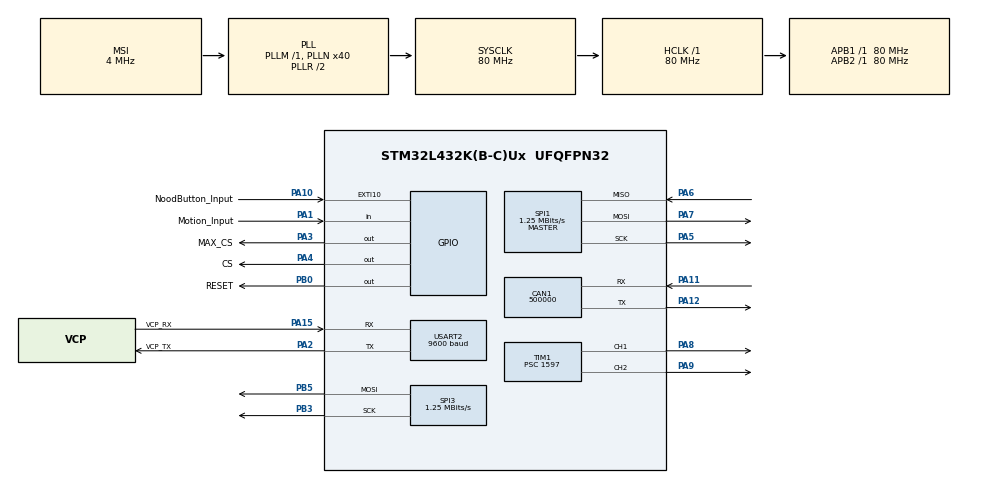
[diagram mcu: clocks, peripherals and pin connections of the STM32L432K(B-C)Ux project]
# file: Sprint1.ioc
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CAN1.BS1=CAN_BS1_3TQ
CAN1.BS2=CAN_BS2_6TQ
CAN1.CalculateBaudRate=500000
CAN1.CalculateTimeBit=2000
CAN1.CalculateTimeQuantum=200.0
Mcu.Family=STM32L4
Mcu.Name=STM32L432K(B-C)Ux
Mcu.Package=UFQFPN32
NVIC.CAN1_RX0_IRQn=true\:0\:0\:false\:false\:true\:true\:true\:true
NVIC.EXTI15_10_IRQn=true\:0\:0\:false\:false\:true\:true\:true\:true
NVIC.PriorityGroup=NVIC_PRIORITYGROUP_4
PA0.GPIO_Label=MCO [High speed clock in]
PA0.Mode=HSE-External-Clock-Source-for-LittleOrca
PA0.Signal=RCC_CK_IN
PA1.GPIO_Label=Motion_Input
PA1.GPIO_PuPd=GPIO_PULLUP
PA1.Signal=GPIO_Input
PA10.GPIO_Label=NoodButton_Input
PA10.GPIO_ModeDefaultEXTI=GPIO_MODE_IT_FALLING
PA10.GPIO_PuPd=GPIO_PULLUP
PA10.Signal=GPXTI10
PA11.Mode=CAN_Activate
PA11.Signal=CAN1_RX
PA12.Mode=CAN_Activate
PA12.Signal=CAN1_TX
PA13\ (JTMS-SWDIO).GPIO_Label=SWDIO
PA13\ (JTMS-SWDIO).Mode=Serial_Wire
PA13\ (JTMS-SWDIO).Signal=SYS_JTMS-SWDIO
PA14\ (JTCK-SWCLK).GPIO_Label=SWCLK
PA14\ (JTCK-SWCLK).Mode=Serial_Wire
PA14\ (JTCK-SWCLK).Signal=SYS_JTCK-SWCLK
PA15\ (JTDI).GPIO_Label=VCP_RX
PA15\ (JTDI).Mode=Asynchronous
PA15\ (JTDI).Signal=USART2_RX
PA2.GPIO_Label=VCP_TX
PA2.Mode=Asynchronous
PA2.Signal=USART2_TX
PA3.GPIO_Label=MAX_CS
PA3.Signal=GPIO_Output
PA4.GPIO_Label=CS
PA4.Signal=GPIO_Output
PA5.Mode=Full_Duplex_Master
PA5.Signal=SPI1_SCK
PA6.Mode=Full_Duplex_Master
PA6.Signal=SPI1_MISO
PA7.Mode=Full_Duplex_Master
PA7.Signal=SPI1_MOSI
PA8.Signal=S_TIM1_CH1
PA9.Signal=S_TIM1_CH2
PB0.GPIO_Label=RESET
PB0.Signal=GPIO_Output
PB3\ (JTDO-TRACESWO).Mode=TX_Only_Simplex_Unidirect_Master
PB3\ (JTDO-TRACESWO).Signal=SPI3_SCK
PB5.Mode=TX_Only_Simplex_Unidirect_Master
PB5.Signal=SPI3_MOSI
PC14-OSC32_IN\ (PC14).Mode=LSE-External-Oscillator
PC14-OSC32_IN\ (PC14).Signal=RCC_OSC32_IN
PC15-OSC32_OUT\ (PC15).Mode=LSE-External-Oscillator
PC15-OSC32_OUT\ (PC15).Signal=RCC_OSC32_OUT
ProjectManager.HeapSize=0x200
ProjectManager.StackSize=0x400
ProjectManager.TargetToolchain=STM32CubeIDE
RCC.AHBFreq_Value=80000000
RCC.APB1Freq_Value=80000000
RCC.APB1TimFreq_Value=80000000
RCC.APB2Freq_Value=80000000
RCC.APB2TimFreq_Value=80000000
RCC.CortexFreq_Value=80000000
RCC.HCLKFreq_Value=80000000
RCC.HSE_VALUE=8000000
RCC.HSI16_VALUE=16000000
RCC.HSI48_VALUE=48000000
RCC.HSI_VALUE=16000000
RCC.MSI_VALUE=4000000
RCC.PLLMUL=RCC_PLLMUL_4
RCC.PLLN=40
RCC.SYSCLKFreq_VALUE=80000000
RCC.SYSCLKSource=RCC_SYSCLKSOURCE_PLLCLK
RCC.VCOOutputFreq_Value=160000000
SH.S_TIM1_CH1.0=TIM1_CH1,PWM Generation1 CH1
SH.S_TIM1_CH2.0=TIM1_CH2,PWM Generation2 CH2
SPI1.BaudRatePrescaler=SPI_BAUDRATEPRESCALER_64
SPI1.CalculateBaudRate=1.25 MBits/s
SPI1.DataSize=SPI_DATASIZE_8BIT
SPI1.Direction=SPI_DIRECTION_2LINES
SPI1.Mode=SPI_MODE_MASTER
SPI1.VirtualType=VM_MASTER
SPI3.BaudRatePrescaler=SPI_BAUDRATEPRESCALER_64
SPI3.CalculateBaudRate=1.25 MBits/s
SPI3.DataSize=SPI_DATASIZE_8BIT
SPI3.Direction=SPI_DIRECTION_2LINES
SPI3.Mode=SPI_MODE_MASTER
SPI3.VirtualType=VM_MASTER
TIM1.Channel-PWM\ Generation1\ CH1=TIM_CHANNEL_1
TIM1.Channel-PWM\ Generation2\ CH2=TIM_CHANNEL_2
TIM1.Period=1000
TIM1.Prescaler=1597
TIM1.Pulse-PWM\ Generation1\ CH1=1500
TIM1.Pulse-PWM\ Generation2\ CH2=1500
USART2.BaudRate=9600
USART2.VirtualMode-Asynchronous=VM_ASYNC
board=NUCLEO-L432KC

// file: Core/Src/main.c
/* USER CODE BEGIN Header */
/**
 ******************************************************************************
 * @file           : main.c
 * @brief          : Main program body
 ******************************************************************************
 * @attention
 *
 * Copyright (c) 2026 STMicroelectronics.
 * All rights reserved.
 *
 * This software is licensed under terms that can be found in the LICENSE file
 * in the root directory of this software component.
 * If no LICENSE file comes with this software, it is provided AS-IS.
 *
 ******************************************************************************
 */
/* USER CODE END Header */
#include "main.h"

/* USER CODE BEGIN Includes */
#include "MFRC522_STM32.h"
#include <string.h>
/* USER CODE END Includes */

CAN_HandleTypeDef hcan1;

SPI_HandleTypeDef hspi1;
SPI_HandleTypeDef hspi3;

TIM_HandleTypeDef htim1;

UART_HandleTypeDef huart2;

/* USER CODE BEGIN PV */
uint8_t uid[4];
extern uint8_t atqa[];

typedef enum {
	STATE_NORMAL, STATE_EMERGENCY, STATE_ALLOPEN
} system_state_t;

volatile system_state_t state = STATE_NORMAL;

const uint8_t BinnendeurDicht = 25;
const uint8_t BinnendeurOpen = 70;
const uint8_t BuitendeurDicht = 30;
const uint8_t BuitendeurOpen = 71;
volatile int servo1_pos = BuitendeurDicht;
volatile int servo2_pos = BinnendeurDicht;

volatile uint32_t lastNoodButtonTime = 0;

CAN_TxHeaderTypeDef TxHeader;
CAN_RxHeaderTypeDef RxHeader;
uint8_t TxData[8];
uint8_t RxData[8];
uint32_t TxMailbox;
uint8_t datacheck = 0;
uint8_t RTRReceived = 0;

uint8_t DoorloopCyclus = 0;

uint8_t UIDDatabase[][4] = { { 0x1A, 0xEE, 0xC2, 0x6E }, { 0xFA, 0xA8, 0x04,
		0xDD } };
uint8_t UIDValidated = 0;
uint64_t uidPacked = 0;
/* USER CODE END PV */

void SystemClock_Config(void);
static void MX_GPIO_Init(void);
static void MX_TIM1_Init(void);
static void MX_USART2_UART_Init(void);
static void MX_SPI1_Init(void);
static void MX_CAN1_Init(void);
static void MX_SPI3_Init(void);
/* USER CODE BEGIN PFP */
MFRC522_t rfID = { &hspi1, CS_GPIO_Port, CS_Pin, RESET_GPIO_Port, RESET_Pin };
void SendCanMessage(int dataLength, uint64_t data, uint16_t canID);
/* USER CODE END PFP */

/* USER CODE BEGIN 0 */
void Servo_Move_Smooth(uint32_t *channel, int start, int target, int stepDelay)
{
    if (start < target) {
        for (int pos = start; pos <= target; pos++) {
            *channel = pos;
            HAL_Delay(stepDelay);
        }
    } else {
        for (int pos = start; pos >= target; pos--) {
            *channel = pos;
            HAL_Delay(stepDelay);
        }
    }
}
int _write(int fd, unsigned char *buf, int len);

void max7219_send(uint8_t reg, uint8_t data) {
	HAL_GPIO_WritePin(MAX_CS_GPIO_Port, MAX_CS_Pin, GPIO_PIN_RESET);

	uint8_t bytes[2] = { reg, data };
	HAL_SPI_Transmit(&hspi3, bytes, 2, HAL_MAX_DELAY);

	HAL_GPIO_WritePin(MAX_CS_GPIO_Port, MAX_CS_Pin, GPIO_PIN_SET);
}

void max7219_init(void) {
	max7219_send(0x0F, 0x00); // Display test uit
	max7219_send(0x0C, 0x01); // Shutdown uit (display aan)
	max7219_send(0x0B, 0x07); // Scan limit: 8 rijen
	max7219_send(0x09, 0x00); // Geen decode mode
	max7219_send(0x0A, 0x08); // Brightness
}
uint8_t leeg_2d[8][8] = { { 0, 0, 0, 0, 0, 0, 0, 0 },
		{ 0, 0, 0, 0, 0, 0, 0, 0 }, { 0, 0, 0, 0, 0, 0, 0, 0 }, { 0, 0, 0, 0, 0,
				0, 0, 0 }, { 0, 0, 0, 0, 0, 0, 0, 0 },
		{ 0, 0, 0, 0, 0, 0, 0, 0 }, { 0, 0, 0, 0, 0, 0, 0, 0 }, { 0, 0, 0, 0, 0,
				0, 0, 0 } };

uint8_t uitroepteken_2d[8][8] = { { 0, 0, 0, 1, 1, 0, 0, 0 }, { 0, 0, 0, 1, 1,
		0, 0, 0 }, { 0, 0, 0, 1, 1, 0, 0, 0 }, { 0, 0, 0, 1, 1, 0, 0, 0 }, { 0,
		0, 0, 1, 1, 0, 0, 0 }, { 0, 0, 0, 0, 0, 0, 0, 0 }, { 0, 0, 0, 1, 1, 0,
		0, 0 }, { 0, 0, 0, 1, 1, 0, 0, 0 } };

uint8_t duimpje_2d[8][8] = { { 0, 0, 0, 0, 1, 0, 0, 0 }, { 0, 0, 0, 1, 1, 0, 0,
		0 }, { 0, 0, 0, 1, 1, 0, 0, 0 }, { 1, 1, 1, 1, 1, 1, 1, 0 }, { 1, 1, 1,
		1, 1, 1, 1, 0 }, { 1, 1, 1, 1, 1, 1, 1, 0 }, { 1, 1, 1, 1, 1, 1, 0, 0 },
		{ 0, 0, 0, 1, 1, 0, 0, 0 } };
uint8_t vinkje_2d[8][8] = { { 0, 0, 0, 0, 0, 0, 0, 0 },
		{ 0, 0, 0, 0, 0, 0, 0, 1 }, { 0, 0, 0, 0, 0, 0, 1, 0 }, { 0, 0, 0, 0, 0,
				1, 0, 0 }, { 1, 0, 0, 0, 1, 0, 0, 0 },
		{ 0, 1, 0, 1, 0, 0, 0, 0 }, { 0, 0, 1, 0, 0, 0, 0, 0 }, { 0, 0, 0, 0, 0,
				0, 0, 0 } };

uint8_t kruisje_2d[8][8] = { { 0, 0, 0, 0, 0, 0, 0, 0 }, { 1, 0, 0, 0, 0, 0, 0,
		1 }, { 0, 1, 0, 0, 0, 0, 1, 0 }, { 0, 0, 1, 0, 0, 1, 0, 0 }, { 0, 0, 0,
		1, 1, 0, 0, 0 }, { 0, 0, 1, 0, 0, 1, 0, 0 }, { 0, 1, 0, 0, 0, 0, 1, 0 },
		{ 1, 0, 0, 0, 0, 0, 0, 1 } };

uint8_t row_to_byte(uint8_t row[8]) {
	uint8_t value = 0;
	for (int i = 0; i < 8; i++) {
		value <<= 1;
		value |= (row[i] & 0x01);
	}
	return value;
}

void max7219_show_2d(uint8_t arr[8][8]) {
	for (uint8_t row = 0; row < 8; row++) {
		uint8_t byte = row_to_byte(arr[row]);
		max7219_send(row + 1, byte);
	}
}

void KaiDeurAutomatiseringBuitenBinnen() {
	char RFIDmsg[] = "Deur 1 gaat open\r\n";
	HAL_UART_Transmit(&huart2, (uint8_t*) RFIDmsg, sizeof(RFIDmsg) - 1,
	HAL_MAX_DELAY);

	Servo_Move_Smooth(&TIM1->CCR1, servo1_pos, BuitendeurOpen, 20);
	servo1_pos = BuitendeurOpen;

	HAL_Delay(3000);
	char RFIDmsg1[] = "Deur 1 gaat dicht\r\n";
	HAL_UART_Transmit(&huart2, (uint8_t*) RFIDmsg1, sizeof(RFIDmsg1) - 1,
	HAL_MAX_DELAY);

	Servo_Move_Smooth(&TIM1->CCR1, servo1_pos, BuitendeurDicht, 20);
	servo1_pos = BuitendeurDicht;

	char RFIDmsg2[] = "Deur 2 gaat open\r\n";
	HAL_UART_Transmit(&huart2, (uint8_t*) RFIDmsg2, sizeof(RFIDmsg2) - 1,
	HAL_MAX_DELAY);

	Servo_Move_Smooth(&TIM1->CCR2, servo2_pos, BinnendeurOpen, 20);
	servo2_pos = BinnendeurOpen;

	HAL_Delay(3000);
	char RFIDmsg3[] = "Deur 2 gaat dicht\r\n";
	HAL_UART_Transmit(&huart2, (uint8_t*) RFIDmsg3, sizeof(RFIDmsg3) - 1,
	HAL_MAX_DELAY);

	Servo_Move_Smooth(&TIM1->CCR2, servo2_pos, BinnendeurDicht, 20);
	servo2_pos = BinnendeurDicht;

}

void KaiDeurAutomatiseringBinnenBuiten() {
	char RFIDmsg2[] = "Deur 2 gaat open\r\n";
	HAL_UART_Transmit(&huart2, (uint8_t*) RFIDmsg2, sizeof(RFIDmsg2) - 1,
	HAL_MAX_DELAY);

	Servo_Move_Smooth(&TIM1->CCR2, servo2_pos, BinnendeurOpen, 20);
	servo2_pos = BinnendeurOpen;

	HAL_Delay(3000);
	char RFIDmsg3[] = "Deur 2 gaat dicht\r\n";
	HAL_UART_Transmit(&huart2, (uint8_t*) RFIDmsg3, sizeof(RFIDmsg3) - 1,
	HAL_MAX_DELAY);

	Servo_Move_Smooth(&TIM1->CCR2, servo2_pos, BinnendeurDicht, 20);
	servo2_pos = BinnendeurDicht;

	char RFIDmsg[] = "Deur 1 gaat open\r\n";
	HAL_UART_Transmit(&huart2, (uint8_t*) RFIDmsg, sizeof(RFIDmsg) - 1,
	HAL_MAX_DELAY);

	Servo_Move_Smooth(&TIM1->CCR1, servo1_pos, BuitendeurOpen, 20);
	servo1_pos = BuitendeurOpen;

	HAL_Delay(3000);
	char RFIDmsg1[] = "Deur 1 gaat dicht\r\n";
	HAL_UART_Transmit(&huart2, (uint8_t*) RFIDmsg1, sizeof(RFIDmsg1) - 1,
	HAL_MAX_DELAY);

	Servo_Move_Smooth(&TIM1->CCR1, servo1_pos, BuitendeurDicht, 20);
	servo1_pos = BuitendeurDicht;
}

void ResetDeuren() {
	Servo_Move_Smooth(&TIM1->CCR1, servo1_pos, BuitendeurDicht, 20);
	servo1_pos = BuitendeurDicht;
	Servo_Move_Smooth(&TIM1->CCR2, servo2_pos, BinnendeurDicht, 20);
	servo2_pos = BinnendeurDicht;
}
/* USER CODE END 0 */

int main(void)
{

  /* MCU Configuration--------------------------------------------------------*/

  /* Reset of all peripherals, Initializes the Flash interface and the Systick. */
  HAL_Init();

  /* Configure the system clock */
  SystemClock_Config();

  /* Initialize all configured peripherals */
  MX_GPIO_Init();
  MX_TIM1_Init();
  MX_USART2_UART_Init();
  MX_SPI1_Init();
  MX_CAN1_Init();
  MX_SPI3_Init();
  /* USER CODE BEGIN 2 */
	max7219_init();
	HAL_TIM_PWM_Start(&htim1, TIM_CHANNEL_1);
	HAL_TIM_PWM_Start(&htim1, TIM_CHANNEL_2);
	MFRC522_Init(&rfID);
	ResetDeuren();

	CAN_FilterTypeDef canfilterconfig;

	/* Common filter settings */
	canfilterconfig.FilterActivation = CAN_FILTER_ENABLE;
	canfilterconfig.FilterFIFOAssignment = CAN_FILTER_FIFO0;
	canfilterconfig.FilterMode = CAN_FILTERMODE_IDMASK;
	canfilterconfig.FilterScale = CAN_FILTERSCALE_32BIT;
	canfilterconfig.SlaveStartFilterBank = 10;

	/* Filter 0 -> 0x200 */
	canfilterconfig.FilterBank = 0;
	canfilterconfig.FilterIdHigh = (0x001 << 5);
	canfilterconfig.FilterIdLow = 0;
	canfilterconfig.FilterMaskIdHigh = (0x7FF << 5);
	canfilterconfig.FilterMaskIdLow = 0;
	HAL_CAN_ConfigFilter(&hcan1, &canfilterconfig);

	/* Filter 1 -> 0x210 */
	canfilterconfig.FilterBank = 1;
	canfilterconfig.FilterIdHigh = (0x120 << 5);
	HAL_CAN_ConfigFilter(&hcan1, &canfilterconfig);

	/* Filter 2 -> 0x001 */
	canfilterconfig.FilterBank = 2;
	canfilterconfig.FilterIdHigh = (0x130 << 5);
	HAL_CAN_ConfigFilter(&hcan1, &canfilterconfig);

	/* Filter 3 -> 0x300 */
	canfilterconfig.FilterBank = 3;
	canfilterconfig.FilterIdHigh = (0x140 << 5);
	HAL_CAN_ConfigFilter(&hcan1, &canfilterconfig);

	/* Filter 4 -> 0x310 */
	canfilterconfig.FilterBank = 4;
	canfilterconfig.FilterIdHigh = (0x420 << 5);
	HAL_CAN_ConfigFilter(&hcan1, &canfilterconfig);

	if (HAL_CAN_Start(&hcan1) != HAL_OK) {
		Error_Handler();
	}

	TxHeader.IDE = CAN_ID_STD;
	TxHeader.RTR = CAN_RTR_DATA;
	TxHeader.DLC = 1;

	if (HAL_CAN_ActivateNotification(&hcan1, CAN_IT_RX_FIFO0_MSG_PENDING)
			!= HAL_OK) {
		Error_Handler();
	}
	HAL_Delay(100);
  /* USER CODE END 2 */

  /* Infinite loop */
	while (1) {

    /* USER CODE BEGIN 3 */
		switch (state) {
		case STATE_NORMAL:
			ResetDeuren();
			max7219_show_2d(leeg_2d);
			if (MFRC522_RequestA(&rfID, atqa) == STATUS_OK) {
				if (MFRC522_ReadUid(&rfID, uid) == STATUS_OK) {
					USER_LOG("CARD ID:%02X %02X %02X %02X", uid[0], uid[1],
							uid[2], uid[3]);

					uidPacked = ((uint64_t) uid[0] << 24)
							| ((uint64_t) uid[1] << 16)
							| ((uint64_t) uid[2] << 8) | ((uint64_t) uid[3]);
					SendCanMessage(4, uidPacked, 0x210);

					int count = sizeof(UIDDatabase) / sizeof(UIDDatabase[0]);

					for (int i = 0; i < count; i++) {
						if (memcmp(UIDDatabase[i], uid, 4) == 0) {
							max7219_show_2d(vinkje_2d);
							KaiDeurAutomatiseringBuitenBinnen();
							max7219_show_2d(leeg_2d);
							UIDValidated = 1;
							break;
						}
					}
					if ((uid[0] == 0x91) && (uid[1] == 0xE0)
							&& (uid[2] == 0x76)) {
						max7219_show_2d(vinkje_2d);
						KaiDeurAutomatiseringBuitenBinnen();
						max7219_show_2d(leeg_2d);
					} else if (!UIDValidated) {
						max7219_show_2d(kruisje_2d);
						char RFIDmsg_fout[] = "Toegang geweigerd\r\n";
						HAL_UART_Transmit(&huart2, (uint8_t*) RFIDmsg_fout,
								sizeof(RFIDmsg_fout) - 1, HAL_MAX_DELAY);
						HAL_Delay(2000);
						max7219_show_2d(leeg_2d);
					}
					UIDValidated = 0;

				}
			}

			if (HAL_GPIO_ReadPin(Motion_Input_GPIO_Port, Motion_Input_Pin)
					== GPIO_PIN_RESET) {
				KaiDeurAutomatiseringBinnenBuiten();
			}
			if (DoorloopCyclus) {
				DoorloopCyclus = 0;
				KaiDeurAutomatiseringBuitenBinnen();
			}
			break;
		case STATE_EMERGENCY:
			max7219_show_2d(uitroepteken_2d);
			Servo_Move_Smooth(&TIM1->CCR1, servo1_pos, BuitendeurOpen, 20);
			servo1_pos = BuitendeurOpen;
			Servo_Move_Smooth(&TIM1->CCR2, servo2_pos, BinnendeurDicht, 20);
			servo2_pos = BinnendeurDicht;
			break;
		case STATE_ALLOPEN:
			Servo_Move_Smooth(&TIM1->CCR2, servo2_pos, BinnendeurOpen, 20);
			servo2_pos = BinnendeurOpen;
			Servo_Move_Smooth(&TIM1->CCR1, servo1_pos, BuitendeurOpen, 20);
			servo1_pos = BuitendeurOpen;
			break;
		}
//		uint64_t StuurSensor = 0xAABB;
//		SendCanMessage(2, StuurSensor, 0x112);
//		HAL_Delay(100);
	}
  /* USER CODE END 3 */
}

void SystemClock_Config(void)
{
  RCC_OscInitTypeDef RCC_OscInitStruct = {0};
  RCC_ClkInitTypeDef RCC_ClkInitStruct = {0};

  /** Configure the main internal regulator output voltage
  */
  if (HAL_PWREx_ControlVoltageScaling(PWR_REGULATOR_VOLTAGE_SCALE1) != HAL_OK)
  {
    Error_Handler();
  }

  /** Configure LSE Drive Capability
  */
  HAL_PWR_EnableBkUpAccess();
  __HAL_RCC_LSEDRIVE_CONFIG(RCC_LSEDRIVE_LOW);

  /** Initializes the RCC Oscillators according to the specified parameters
  * in the RCC_OscInitTypeDef structure.
  */
  RCC_OscInitStruct.OscillatorType = RCC_OSCILLATORTYPE_LSE|RCC_OSCILLATORTYPE_MSI;
  RCC_OscInitStruct.LSEState = RCC_LSE_ON;
  RCC_OscInitStruct.MSIState = RCC_MSI_ON;
  RCC_OscInitStruct.MSICalibrationValue = 0;
  RCC_OscInitStruct.MSIClockRange = RCC_MSIRANGE_6;
  RCC_OscInitStruct.PLL.PLLState = RCC_PLL_ON;
  RCC_OscInitStruct.PLL.PLLSource = RCC_PLLSOURCE_MSI;
  RCC_OscInitStruct.PLL.PLLM = 1;
  RCC_OscInitStruct.PLL.PLLN = 40;
  RCC_OscInitStruct.PLL.PLLP = RCC_PLLP_DIV7;
  RCC_OscInitStruct.PLL.PLLQ = RCC_PLLQ_DIV2;
  RCC_OscInitStruct.PLL.PLLR = RCC_PLLR_DIV2;
  if (HAL_RCC_OscConfig(&RCC_OscInitStruct) != HAL_OK)
  {
    Error_Handler();
  }

  /** Initializes the CPU, AHB and APB buses clocks
  */
  RCC_ClkInitStruct.ClockType = RCC_CLOCKTYPE_HCLK|RCC_CLOCKTYPE_SYSCLK
                              |RCC_CLOCKTYPE_PCLK1|RCC_CLOCKTYPE_PCLK2;
  RCC_ClkInitStruct.SYSCLKSource = RCC_SYSCLKSOURCE_PLLCLK;
  RCC_ClkInitStruct.AHBCLKDivider = RCC_SYSCLK_DIV1;
  RCC_ClkInitStruct.APB1CLKDivider = RCC_HCLK_DIV1;
  RCC_ClkInitStruct.APB2CLKDivider = RCC_HCLK_DIV1;

  if (HAL_RCC_ClockConfig(&RCC_ClkInitStruct, FLASH_LATENCY_4) != HAL_OK)
  {
    Error_Handler();
  }

  /** Enable MSI Auto calibration
  */
  HAL_RCCEx_EnableMSIPLLMode();
}

static void MX_CAN1_Init(void)
{

  hcan1.Instance = CAN1;
  hcan1.Init.Prescaler = 16;
  hcan1.Init.Mode = CAN_MODE_NORMAL;
  hcan1.Init.SyncJumpWidth = CAN_SJW_1TQ;
  hcan1.Init.TimeSeg1 = CAN_BS1_3TQ;
  hcan1.Init.TimeSeg2 = CAN_BS2_6TQ;
  hcan1.Init.TimeTriggeredMode = DISABLE;
  hcan1.Init.AutoBusOff = DISABLE;
  hcan1.Init.AutoWakeUp = DISABLE;
  hcan1.Init.AutoRetransmission = DISABLE;
  hcan1.Init.ReceiveFifoLocked = DISABLE;
  hcan1.Init.TransmitFifoPriority = DISABLE;
  if (HAL_CAN_Init(&hcan1) != HAL_OK)
  {
    Error_Handler();
  }

}

static void MX_SPI1_Init(void)
{

  /* SPI1 parameter configuration*/
  hspi1.Instance = SPI1;
  hspi1.Init.Mode = SPI_MODE_MASTER;
  hspi1.Init.Direction = SPI_DIRECTION_2LINES;
  hspi1.Init.DataSize = SPI_DATASIZE_8BIT;
  hspi1.Init.CLKPolarity = SPI_POLARITY_LOW;
  hspi1.Init.CLKPhase = SPI_PHASE_1EDGE;
  hspi1.Init.NSS = SPI_NSS_SOFT;
  hspi1.Init.BaudRatePrescaler = SPI_BAUDRATEPRESCALER_64;
  hspi1.Init.FirstBit = SPI_FIRSTBIT_MSB;
  hspi1.Init.TIMode = SPI_TIMODE_DISABLE;
  hspi1.Init.CRCCalculation = SPI_CRCCALCULATION_DISABLE;
  hspi1.Init.CRCPolynomial = 7;
  hspi1.Init.CRCLength = SPI_CRC_LENGTH_DATASIZE;
  hspi1.Init.NSSPMode = SPI_NSS_PULSE_ENABLE;
  if (HAL_SPI_Init(&hspi1) != HAL_OK)
  {
    Error_Handler();
  }

}

static void MX_SPI3_Init(void)
{

  /* SPI3 parameter configuration*/
  hspi3.Instance = SPI3;
  hspi3.Init.Mode = SPI_MODE_MASTER;
  hspi3.Init.Direction = SPI_DIRECTION_2LINES;
  hspi3.Init.DataSize = SPI_DATASIZE_8BIT;
  hspi3.Init.CLKPolarity = SPI_POLARITY_LOW;
  hspi3.Init.CLKPhase = SPI_PHASE_1EDGE;
  hspi3.Init.NSS = SPI_NSS_SOFT;
  hspi3.Init.BaudRatePrescaler = SPI_BAUDRATEPRESCALER_64;
  hspi3.Init.FirstBit = SPI_FIRSTBIT_MSB;
  hspi3.Init.TIMode = SPI_TIMODE_DISABLE;
  hspi3.Init.CRCCalculation = SPI_CRCCALCULATION_DISABLE;
  hspi3.Init.CRCPolynomial = 7;
  hspi3.Init.CRCLength = SPI_CRC_LENGTH_DATASIZE;
  hspi3.Init.NSSPMode = SPI_NSS_PULSE_ENABLE;
  if (HAL_SPI_Init(&hspi3) != HAL_OK)
  {
    Error_Handler();
  }

}

static void MX_TIM1_Init(void)
{

  TIM_MasterConfigTypeDef sMasterConfig = {0};
  TIM_OC_InitTypeDef sConfigOC = {0};
  TIM_BreakDeadTimeConfigTypeDef sBreakDeadTimeConfig = {0};

  htim1.Instance = TIM1;
  htim1.Init.Prescaler = 1597;
  htim1.Init.CounterMode = TIM_COUNTERMODE_UP;
  htim1.Init.Period = 1000;
  htim1.Init.ClockDivision = TIM_CLOCKDIVISION_DIV1;
  htim1.Init.RepetitionCounter = 0;
  htim1.Init.AutoReloadPreload = TIM_AUTORELOAD_PRELOAD_DISABLE;
  if (HAL_TIM_PWM_Init(&htim1) != HAL_OK)
  {
    Error_Handler();
  }
  sMasterConfig.MasterOutputTrigger = TIM_TRGO_RESET;
  sMasterConfig.MasterOutputTrigger2 = TIM_TRGO2_RESET;
  sMasterConfig.MasterSlaveMode = TIM_MASTERSLAVEMODE_DISABLE;
  if (HAL_TIMEx_MasterConfigSynchronization(&htim1, &sMasterConfig) != HAL_OK)
  {
    Error_Handler();
  }
  sConfigOC.OCMode = TIM_OCMODE_PWM1;
  sConfigOC.Pulse = 1500;
  sConfigOC.OCPolarity = TIM_OCPOLARITY_HIGH;
  sConfigOC.OCNPolarity = TIM_OCNPOLARITY_HIGH;
  sConfigOC.OCFastMode = TIM_OCFAST_DISABLE;
  sConfigOC.OCIdleState = TIM_OCIDLESTATE_RESET;
  sConfigOC.OCNIdleState = TIM_OCNIDLESTATE_RESET;
  if (HAL_TIM_PWM_ConfigChannel(&htim1, &sConfigOC, TIM_CHANNEL_1) != HAL_OK)
  {
    Error_Handler();
  }
  if (HAL_TIM_PWM_ConfigChannel(&htim1, &sConfigOC, TIM_CHANNEL_2) != HAL_OK)
  {
    Error_Handler();
  }
  sBreakDeadTimeConfig.OffStateRunMode = TIM_OSSR_DISABLE;
  sBreakDeadTimeConfig.OffStateIDLEMode = TIM_OSSI_DISABLE;
  sBreakDeadTimeConfig.LockLevel = TIM_LOCKLEVEL_OFF;
  sBreakDeadTimeConfig.DeadTime = 0;
  sBreakDeadTimeConfig.BreakState = TIM_BREAK_DISABLE;
  sBreakDeadTimeConfig.BreakPolarity = TIM_BREAKPOLARITY_HIGH;
  sBreakDeadTimeConfig.BreakFilter = 0;
  sBreakDeadTimeConfig.Break2State = TIM_BREAK2_DISABLE;
  sBreakDeadTimeConfig.Break2Polarity = TIM_BREAK2POLARITY_HIGH;
  sBreakDeadTimeConfig.Break2Filter = 0;
  sBreakDeadTimeConfig.AutomaticOutput = TIM_AUTOMATICOUTPUT_DISABLE;
  if (HAL_TIMEx_ConfigBreakDeadTime(&htim1, &sBreakDeadTimeConfig) != HAL_OK)
  {
    Error_Handler();
  }
  HAL_TIM_MspPostInit(&htim1);

}

static void MX_USART2_UART_Init(void)
{

  huart2.Instance = USART2;
  huart2.Init.BaudRate = 9600;
  huart2.Init.WordLength = UART_WORDLENGTH_8B;
  huart2.Init.StopBits = UART_STOPBITS_1;
  huart2.Init.Parity = UART_PARITY_NONE;
  huart2.Init.Mode = UART_MODE_TX_RX;
  huart2.Init.HwFlowCtl = UART_HWCONTROL_NONE;
  huart2.Init.OverSampling = UART_OVERSAMPLING_16;
  huart2.Init.OneBitSampling = UART_ONE_BIT_SAMPLE_DISABLE;
  huart2.AdvancedInit.AdvFeatureInit = UART_ADVFEATURE_NO_INIT;
  if (HAL_UART_Init(&huart2) != HAL_OK)
  {
    Error_Handler();
  }

}

static void MX_GPIO_Init(void)
{
  GPIO_InitTypeDef GPIO_InitStruct = {0};

  /* GPIO Ports Clock Enable */
  __HAL_RCC_GPIOC_CLK_ENABLE();
  __HAL_RCC_GPIOA_CLK_ENABLE();
  __HAL_RCC_GPIOB_CLK_ENABLE();

  /*Configure GPIO pin Output Level */
  HAL_GPIO_WritePin(GPIOA, MAX_CS_Pin|CS_Pin, GPIO_PIN_RESET);

  /*Configure GPIO pin Output Level */
  HAL_GPIO_WritePin(RESET_GPIO_Port, RESET_Pin, GPIO_PIN_RESET);

  /*Configure GPIO pin : Motion_Input_Pin */
  GPIO_InitStruct.Pin = Motion_Input_Pin;
  GPIO_InitStruct.Mode = GPIO_MODE_INPUT;
  GPIO_InitStruct.Pull = GPIO_PULLUP;
  HAL_GPIO_Init(Motion_Input_GPIO_Port, &GPIO_InitStruct);

  /*Configure GPIO pins : MAX_CS_Pin CS_Pin */
  GPIO_InitStruct.Pin = MAX_CS_Pin|CS_Pin;
  GPIO_InitStruct.Mode = GPIO_MODE_OUTPUT_PP;
  GPIO_InitStruct.Pull = GPIO_NOPULL;
  GPIO_InitStruct.Speed = GPIO_SPEED_FREQ_LOW;
  HAL_GPIO_Init(GPIOA, &GPIO_InitStruct);

  /*Configure GPIO pin : RESET_Pin */
  GPIO_InitStruct.Pin = RESET_Pin;
  GPIO_InitStruct.Mode = GPIO_MODE_OUTPUT_PP;
  GPIO_InitStruct.Pull = GPIO_NOPULL;
  GPIO_InitStruct.Speed = GPIO_SPEED_FREQ_LOW;
  HAL_GPIO_Init(RESET_GPIO_Port, &GPIO_InitStruct);

  /*Configure GPIO pin : NoodButton_Input_Pin */
  GPIO_InitStruct.Pin = NoodButton_Input_Pin;
  GPIO_InitStruct.Mode = GPIO_MODE_IT_FALLING;
  GPIO_InitStruct.Pull = GPIO_PULLUP;
  HAL_GPIO_Init(NoodButton_Input_GPIO_Port, &GPIO_InitStruct);

  /* EXTI interrupt init*/
  HAL_NVIC_SetPriority(EXTI15_10_IRQn, 0, 0);
  HAL_NVIC_EnableIRQ(EXTI15_10_IRQn);

}

/* USER CODE BEGIN 4 */
int _write(int fd, unsigned char *buf, int len) {
	if (fd == 1 || fd == 2) {                     // stdout or stderr ?
		HAL_UART_Transmit(&huart2, buf, len, 999);  // Print to the UART
	}
	return len;
}

void HAL_GPIO_EXTI_Callback(uint16_t GPIO_Pin) {
	if (GPIO_Pin == NoodButton_Input_Pin) {
		uint32_t now = HAL_GetTick();
		// Ignore interrupts within 200 ms
		if ((now - lastNoodButtonTime) < 200) {
			return;
		}
		lastNoodButtonTime = now;
		if (HAL_GPIO_ReadPin(NoodButton_Input_GPIO_Port, NoodButton_Input_Pin)
				== GPIO_PIN_RESET) {
			// noodknop logica
			if (state == STATE_NORMAL) {
				state = STATE_ALLOPEN;
				max7219_show_2d(uitroepteken_2d);
				char nood[] = "Noodknop ingedrukt, alle deuren gaan dicht\r\n";
				HAL_UART_Transmit(&huart2, (uint8_t*) nood, sizeof(nood) - 1,
				HAL_MAX_DELAY);
			} else if (state == STATE_ALLOPEN) {
				state = STATE_NORMAL;
				max7219_show_2d(leeg_2d);
			}
		}
	}
}

void HAL_CAN_RxFifo0MsgPendingCallback(CAN_HandleTypeDef *hcan) {
	if (HAL_CAN_GetRxMessage(hcan, CAN_RX_FIFO0, &RxHeader, RxData) != HAL_OK) {
		Error_Handler();
	}

//	char msg[] = "CAN ontvangen!\r\n";
//	HAL_UART_Transmit(&huart2, (uint8_t*) msg, sizeof(msg) - 1, HAL_MAX_DELAY);
//  if ((RxHeader.StdId == 0x113)) {
//	  if (RxData[0] == 0x01) {
//		  datacheck = 1;
//	  } else if (RxData[0] == 0x02) {
//		  datacheck =0;
//	  }
//  }

//  if (RxHeader.RTR == CAN_RTR_REMOTE && RxHeader.StdId == 0x112) {
//	  RTRReceived = 1;
//  }

	if ((RxHeader.StdId == 0x001)) {
		if (RxData[0] == 0x01) {
			if (state != STATE_EMERGENCY) {
				state = STATE_EMERGENCY;
				max7219_show_2d(uitroepteken_2d);
				char nood[] = "Noodknop ingedrukt, alle deuren gaan dicht\r\n";
				HAL_UART_Transmit(&huart2, (uint8_t*) nood, sizeof(nood) - 1,
				HAL_MAX_DELAY);
			}
		}
		if (RxData[0] == 0x00) {
			if (state == STATE_EMERGENCY) {
				state = STATE_NORMAL;
				max7219_show_2d(leeg_2d);
			}
		}
	}
	if ((RxHeader.StdId == 0x120)) {
		if (state == STATE_NORMAL) {
			state = STATE_ALLOPEN;
			max7219_show_2d(duimpje_2d);
		} else if (state == STATE_ALLOPEN) {
			state = STATE_NORMAL;
			max7219_show_2d(leeg_2d);
		}
	}

	if ((RxHeader.StdId == 0x130)) {
		if (DoorloopCyclus == 0) {
			DoorloopCyclus = 1;
		}
	}
}

void SendCanMessage(int dataLength, uint64_t data, uint16_t canID) {
	uint8_t tempData[8] = { data, data >> 8, data >> 16, data >> 24, data >> 32,
			data >> 40, data >> 48, data >> 56 };
	int y = 0;
	for (int i = dataLength - 1; i >= 0; i--) {
		TxData[i] = tempData[y];
		y++;
	}
	TxHeader.DLC = dataLength;
	TxHeader.StdId = canID;

	if (HAL_CAN_AddTxMessage(&hcan1, &TxHeader, TxData, &TxMailbox) != HAL_OK) {
		Error_Handler();
	}
}
/* USER CODE END 4 */

void Error_Handler(void)
{
	__disable_irq();
	while (1) {
	}
}
